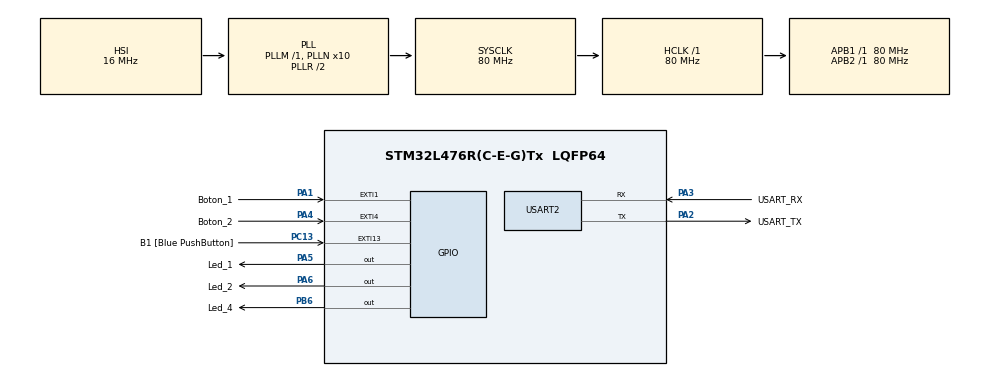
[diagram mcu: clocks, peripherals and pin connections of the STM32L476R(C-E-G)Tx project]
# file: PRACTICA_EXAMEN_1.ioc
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Mcu.Family=STM32L4
Mcu.Name=STM32L476R(C-E-G)Tx
Mcu.Package=LQFP64
NVIC.EXTI1_IRQn=true\:0\:0\:false\:false\:true\:true\:true\:true
NVIC.EXTI4_IRQn=true\:0\:0\:false\:false\:true\:true\:true\:true
NVIC.PriorityGroup=NVIC_PRIORITYGROUP_4
PA1.GPIO_Label=Boton_1
PA1.GPIO_PuPd=GPIO_PULLDOWN
PA1.Signal=GPXTI1
PA13\ (JTMS-SWDIO).GPIO_Label=TMS
PA13\ (JTMS-SWDIO).Mode=Serial_Wire
PA13\ (JTMS-SWDIO).Signal=SYS_JTMS-SWDIO
PA14\ (JTCK-SWCLK).GPIO_Label=TCK
PA14\ (JTCK-SWCLK).Mode=Serial_Wire
PA14\ (JTCK-SWCLK).Signal=SYS_JTCK-SWCLK
PA2.GPIO_Label=USART_TX
PA2.GPIO_Mode=GPIO_MODE_AF_PP
PA2.GPIO_PuPd=GPIO_NOPULL
PA2.GPIO_Speed=GPIO_SPEED_FREQ_VERY_HIGH
PA2.Mode=Asynchronous
PA2.Signal=USART2_TX
PA3.GPIO_Label=USART_RX
PA3.GPIO_Mode=GPIO_MODE_AF_PP
PA3.GPIO_PuPd=GPIO_NOPULL
PA3.GPIO_Speed=GPIO_SPEED_FREQ_VERY_HIGH
PA3.Mode=Asynchronous
PA3.Signal=USART2_RX
PA4.GPIO_Label=Boton_2
PA4.GPIO_PuPd=GPIO_PULLDOWN
PA4.Signal=GPXTI4
PA5.GPIO_Label=Led_1
PA5.GPIO_ModeDefaultOutputPP=GPIO_MODE_OUTPUT_PP
PA5.GPIO_PuPd=GPIO_NOPULL
PA5.GPIO_Speed=GPIO_SPEED_FREQ_LOW
PA5.PinState=GPIO_PIN_SET
PA5.Signal=GPIO_Output
PA6.GPIO_Label=Led_2
PA6.GPIO_PuPd=GPIO_NOPULL
PA6.PinState=GPIO_PIN_SET
PA6.Signal=GPIO_Output
PB3\ (JTDO-TRACESWO).GPIO_Label=SWO
PB3\ (JTDO-TRACESWO).Signal=SYS_JTDO-SWO
PB6.GPIO_Label=Led_4
PB6.GPIO_ModeDefaultOutputPP=GPIO_MODE_OUTPUT_PP
PB6.GPIO_PuPd=GPIO_NOPULL
PB6.PinState=GPIO_PIN_SET
PB6.Signal=GPIO_Output
PC13.GPIO_Label=B1 [Blue PushButton]
PC13.GPIO_ModeDefaultEXTI=GPIO_MODE_IT_FALLING
PC13.GPIO_PuPd=GPIO_NOPULL
PC13.Signal=GPXTI13
PC14-OSC32_IN\ (PC14).Mode=LSE-External-Oscillator
PC14-OSC32_IN\ (PC14).Signal=RCC_OSC32_IN
PC15-OSC32_OUT\ (PC15).Mode=LSE-External-Oscillator
PC15-OSC32_OUT\ (PC15).Signal=RCC_OSC32_OUT
PH0-OSC_IN\ (PH0).Signal=RCC_OSC_IN
PH1-OSC_OUT\ (PH1).Signal=RCC_OSC_OUT
ProjectManager.HeapSize=0x200
ProjectManager.StackSize=0x400
ProjectManager.TargetToolchain=STM32CubeIDE
RCC.ADCFreq_Value=64000000
RCC.AHBFreq_Value=80000000
RCC.APB1Freq_Value=80000000
RCC.APB1TimFreq_Value=80000000
RCC.APB2Freq_Value=80000000
RCC.APB2TimFreq_Value=80000000
RCC.CortexFreq_Value=80000000
RCC.HCLKFreq_Value=80000000
RCC.HSE_VALUE=8000000
RCC.HSI_VALUE=16000000
RCC.MSI_VALUE=4000000
RCC.PLLN=10
RCC.PLLSourceVirtual=RCC_PLLSOURCE_HSI
RCC.PREFETCH_ENABLE=1
RCC.SYSCLKFreq_VALUE=80000000
RCC.SYSCLKSource=RCC_SYSCLKSOURCE_PLLCLK
RCC.USBFreq_Value=64000000
RCC.VCOOutputFreq_Value=160000000
USART2.VirtualMode-Asynchronous=VM_ASYNC
board=NUCLEO-L476RG

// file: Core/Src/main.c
/* USER CODE BEGIN Header */
/**
  ******************************************************************************
  * @file           : main.c
  * @brief          : Main program body
  ******************************************************************************
  * @attention
  *
  * Copyright (c) 2024 STMicroelectronics.
  * All rights reserved.
  *
  * This software is licensed under terms that can be found in the LICENSE file
  * in the root directory of this software component.
  * If no LICENSE file comes with this software, it is provided AS-IS.
  *
  ******************************************************************************
  */
/* USER CODE END Header */
#include "main.h"

UART_HandleTypeDef huart2;

/* USER CODE BEGIN PV */
uint32_t left_toggles = 0;
/* USER CODE END PV */

void SystemClock_Config(void);
static void MX_GPIO_Init(void);
static void MX_USART2_UART_Init(void);

/* USER CODE BEGIN 0 */
void HAL_GPIO_EXTI_Callback(uint16_t GPIO_Pin) //FUNCION CALLBACK,LA UTILIZAMOS PARA COMUNICACION CON EL PC
{
  /* Prevent unused argument(s) compilation warning */
  if (GPIO_Pin == Boton_1_Pin){ //AL PRESIONAR EL BOTON 1 SE MANDA "D1"
	  HAL_UART_Transmit(&huart2, "D1\r\n", 4, 10);
	  left_toggles = 6;
  }
  if (GPIO_Pin == Boton_2_Pin){ //AL PRESIONAR EL BOTON 2 SE MANDA "D2"
	  HAL_UART_Transmit(&huart2, "D2\r\n", 4, 10);
	  left_toggles = 6;
  }

  /* NOTE: This function should not be modified, when the callback is needed,
           the HAL_GPIO_EXTI_Callback could be implemented in the user file
   */
}
void hearbeat(void) //FUNCION HEARBEAT HACE QUE EL LED PARPADEE, LAS VECES QUE NECESITEMOS CON LA FRECUENCIA NECESARIA
{
	static uint32_t hearbeat_tick = 0;
	if (hearbeat_tick < HAL_GetTick()){
		hearbeat_tick = HAL_GetTick() + 1000;
		HAL_GPIO_TogglePin(Led_4_GPIO_Port, Led_4_Pin);
	}}

void turn_signal_left(void) //FUNCION ENCARGADA DEL ENCENDIDO Y APAGADO DEL LED 1
{
	static uint32_t turn_toggle_tick_l = 0;
	if (turn_toggle_tick_l < HAL_GetTick()){
		if (left_toggles > 0) {
		turn_toggle_tick_l = HAL_GetTick() + 1000;
		HAL_GPIO_TogglePin(Led_1_GPIO_Port, Led_1_Pin);
		left_toggles--;
	} else {
		HAL_GPIO_WritePin(Led_1_GPIO_Port,Led_1_Pin,1);
	}
	}}

void turn_signal_right(void) //FUNCION ENCARGADA DEL ENCENDIDO Y APAGADO DEL LED 1
{
	static uint32_t turn_toggle_tick_r = 0;
	if (turn_toggle_tick_r < HAL_GetTick()){
		if (left_toggles > 0) {
		turn_toggle_tick_r = HAL_GetTick() + 1000;
		HAL_GPIO_TogglePin(Led_2_GPIO_Port, Led_2_Pin);
		left_toggles--;
	} else {
		HAL_GPIO_WritePin(Led_2_GPIO_Port, Led_2_Pin,1);
	}
	}}

/* USER CODE END 0 */

int main(void)
{

  /* MCU Configuration--------------------------------------------------------*/

  /* Reset of all peripherals, Initializes the Flash interface and the Systick. */
  HAL_Init();

  /* Configure the system clock */
  SystemClock_Config();

  /* Initialize all configured peripherals */
  MX_GPIO_Init();
  MX_USART2_UART_Init();

  /* Infinite loop */
  while (1)
  {
	  hearbeat();

	  if(HAL_GPIO_ReadPin(Boton_1_GPIO_Port,Boton_1_Pin) == 1){turn_signal_left();}
  }
}

void SystemClock_Config(void)
{
  RCC_OscInitTypeDef RCC_OscInitStruct = {0};
  RCC_ClkInitTypeDef RCC_ClkInitStruct = {0};

  /** Configure the main internal regulator output voltage
  */
  if (HAL_PWREx_ControlVoltageScaling(PWR_REGULATOR_VOLTAGE_SCALE1) != HAL_OK)
  {
    Error_Handler();
  }

  /** Initializes the RCC Oscillators according to the specified parameters
  * in the RCC_OscInitTypeDef structure.
  */
  RCC_OscInitStruct.OscillatorType = RCC_OSCILLATORTYPE_HSI;
  RCC_OscInitStruct.HSIState = RCC_HSI_ON;
  RCC_OscInitStruct.HSICalibrationValue = RCC_HSICALIBRATION_DEFAULT;
  RCC_OscInitStruct.PLL.PLLState = RCC_PLL_ON;
  RCC_OscInitStruct.PLL.PLLSource = RCC_PLLSOURCE_HSI;
  RCC_OscInitStruct.PLL.PLLM = 1;
  RCC_OscInitStruct.PLL.PLLN = 10;
  RCC_OscInitStruct.PLL.PLLP = RCC_PLLP_DIV7;
  RCC_OscInitStruct.PLL.PLLQ = RCC_PLLQ_DIV2;
  RCC_OscInitStruct.PLL.PLLR = RCC_PLLR_DIV2;
  if (HAL_RCC_OscConfig(&RCC_OscInitStruct) != HAL_OK)
  {
    Error_Handler();
  }

  /** Initializes the CPU, AHB and APB buses clocks
  */
  RCC_ClkInitStruct.ClockType = RCC_CLOCKTYPE_HCLK|RCC_CLOCKTYPE_SYSCLK
                              |RCC_CLOCKTYPE_PCLK1|RCC_CLOCKTYPE_PCLK2;
  RCC_ClkInitStruct.SYSCLKSource = RCC_SYSCLKSOURCE_PLLCLK;
  RCC_ClkInitStruct.AHBCLKDivider = RCC_SYSCLK_DIV1;
  RCC_ClkInitStruct.APB1CLKDivider = RCC_HCLK_DIV1;
  RCC_ClkInitStruct.APB2CLKDivider = RCC_HCLK_DIV1;

  if (HAL_RCC_ClockConfig(&RCC_ClkInitStruct, FLASH_LATENCY_4) != HAL_OK)
  {
    Error_Handler();
  }
}

static void MX_USART2_UART_Init(void)
{

  huart2.Instance = USART2;
  huart2.Init.BaudRate = 115200;
  huart2.Init.WordLength = UART_WORDLENGTH_8B;
  huart2.Init.StopBits = UART_STOPBITS_1;
  huart2.Init.Parity = UART_PARITY_NONE;
  huart2.Init.Mode = UART_MODE_TX_RX;
  huart2.Init.HwFlowCtl = UART_HWCONTROL_NONE;
  huart2.Init.OverSampling = UART_OVERSAMPLING_16;
  huart2.Init.OneBitSampling = UART_ONE_BIT_SAMPLE_DISABLE;
  huart2.AdvancedInit.AdvFeatureInit = UART_ADVFEATURE_NO_INIT;
  if (HAL_UART_Init(&huart2) != HAL_OK)
  {
    Error_Handler();
  }

}

static void MX_GPIO_Init(void)
{
  GPIO_InitTypeDef GPIO_InitStruct = {0};

  /* GPIO Ports Clock Enable */
  __HAL_RCC_GPIOC_CLK_ENABLE();
  __HAL_RCC_GPIOH_CLK_ENABLE();
  __HAL_RCC_GPIOA_CLK_ENABLE();
  __HAL_RCC_GPIOB_CLK_ENABLE();

  /*Configure GPIO pin Output Level */
  HAL_GPIO_WritePin(GPIOA, Led_1_Pin|Led_2_Pin, GPIO_PIN_SET);

  /*Configure GPIO pin Output Level */
  HAL_GPIO_WritePin(Led_4_GPIO_Port, Led_4_Pin, GPIO_PIN_SET);

  /*Configure GPIO pin : B1_Pin */
  GPIO_InitStruct.Pin = B1_Pin;
  GPIO_InitStruct.Mode = GPIO_MODE_IT_FALLING;
  GPIO_InitStruct.Pull = GPIO_NOPULL;
  HAL_GPIO_Init(B1_GPIO_Port, &GPIO_InitStruct);

  /*Configure GPIO pins : Boton_1_Pin Boton_2_Pin */
  GPIO_InitStruct.Pin = Boton_1_Pin|Boton_2_Pin;
  GPIO_InitStruct.Mode = GPIO_MODE_IT_RISING;
  GPIO_InitStruct.Pull = GPIO_PULLDOWN;
  HAL_GPIO_Init(GPIOA, &GPIO_InitStruct);

  /*Configure GPIO pins : Led_1_Pin Led_2_Pin */
  GPIO_InitStruct.Pin = Led_1_Pin|Led_2_Pin;
  GPIO_InitStruct.Mode = GPIO_MODE_OUTPUT_PP;
  GPIO_InitStruct.Pull = GPIO_NOPULL;
  GPIO_InitStruct.Speed = GPIO_SPEED_FREQ_LOW;
  HAL_GPIO_Init(GPIOA, &GPIO_InitStruct);

  /*Configure GPIO pin : Led_4_Pin */
  GPIO_InitStruct.Pin = Led_4_Pin;
  GPIO_InitStruct.Mode = GPIO_MODE_OUTPUT_PP;
  GPIO_InitStruct.Pull = GPIO_NOPULL;
  GPIO_InitStruct.Speed = GPIO_SPEED_FREQ_LOW;
  HAL_GPIO_Init(Led_4_GPIO_Port, &GPIO_InitStruct);

  /* EXTI interrupt init*/
  HAL_NVIC_SetPriority(EXTI1_IRQn, 0, 0);
  HAL_NVIC_EnableIRQ(EXTI1_IRQn);

  HAL_NVIC_SetPriority(EXTI4_IRQn, 0, 0);
  HAL_NVIC_EnableIRQ(EXTI4_IRQn);

}

void Error_Handler(void)
{
  __disable_irq();
  while (1)
  {
  }
}
